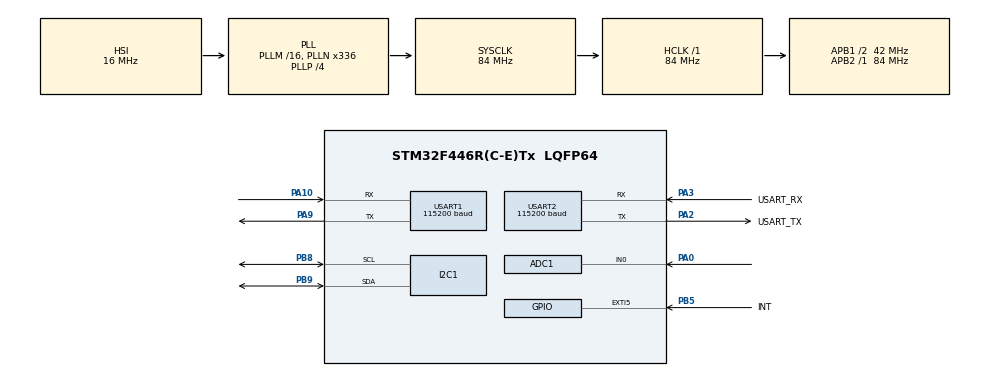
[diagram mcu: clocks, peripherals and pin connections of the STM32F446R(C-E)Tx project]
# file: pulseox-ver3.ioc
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ADC1.Channel-0\#ChannelRegularConversion=ADC_CHANNEL_0
ADC1.NbrOfConversionFlag=1
ADC1.Rank-0\#ChannelRegularConversion=1
ADC1.SamplingTime-0\#ChannelRegularConversion=ADC_SAMPLETIME_3CYCLES
ADC1.master=1
Dma.Request0=USART2_RX
Dma.Request1=USART2_TX
Dma.Request2=USART1_RX
Dma.Request3=USART1_TX
Dma.USART1_RX.2.Direction=DMA_PERIPH_TO_MEMORY
Dma.USART1_RX.2.FIFOMode=DMA_FIFOMODE_DISABLE
Dma.USART1_RX.2.Instance=DMA2_Stream2
Dma.USART1_RX.2.MemDataAlignment=DMA_MDATAALIGN_BYTE
Dma.USART1_RX.2.MemInc=DMA_MINC_ENABLE
Dma.USART1_RX.2.Mode=DMA_NORMAL
Dma.USART1_RX.2.PeriphDataAlignment=DMA_PDATAALIGN_BYTE
Dma.USART1_RX.2.PeriphInc=DMA_PINC_DISABLE
Dma.USART1_RX.2.Priority=DMA_PRIORITY_LOW
Dma.USART1_TX.3.Direction=DMA_MEMORY_TO_PERIPH
Dma.USART1_TX.3.FIFOMode=DMA_FIFOMODE_DISABLE
Dma.USART1_TX.3.Instance=DMA2_Stream7
Dma.USART1_TX.3.MemDataAlignment=DMA_MDATAALIGN_BYTE
Dma.USART1_TX.3.MemInc=DMA_MINC_ENABLE
Dma.USART1_TX.3.Mode=DMA_NORMAL
Dma.USART1_TX.3.PeriphDataAlignment=DMA_PDATAALIGN_BYTE
Dma.USART1_TX.3.PeriphInc=DMA_PINC_DISABLE
Dma.USART1_TX.3.Priority=DMA_PRIORITY_LOW
Dma.USART2_RX.0.Direction=DMA_PERIPH_TO_MEMORY
Dma.USART2_RX.0.FIFOMode=DMA_FIFOMODE_DISABLE
Dma.USART2_RX.0.Instance=DMA1_Stream5
Dma.USART2_RX.0.MemDataAlignment=DMA_MDATAALIGN_BYTE
Dma.USART2_RX.0.MemInc=DMA_MINC_ENABLE
Dma.USART2_RX.0.Mode=DMA_NORMAL
Dma.USART2_RX.0.PeriphDataAlignment=DMA_PDATAALIGN_BYTE
Dma.USART2_RX.0.PeriphInc=DMA_PINC_DISABLE
Dma.USART2_RX.0.Priority=DMA_PRIORITY_LOW
Dma.USART2_TX.1.Direction=DMA_MEMORY_TO_PERIPH
Dma.USART2_TX.1.FIFOMode=DMA_FIFOMODE_DISABLE
Dma.USART2_TX.1.Instance=DMA1_Stream6
Dma.USART2_TX.1.MemDataAlignment=DMA_MDATAALIGN_BYTE
Dma.USART2_TX.1.MemInc=DMA_MINC_ENABLE
Dma.USART2_TX.1.Mode=DMA_NORMAL
Dma.USART2_TX.1.PeriphDataAlignment=DMA_PDATAALIGN_BYTE
Dma.USART2_TX.1.PeriphInc=DMA_PINC_DISABLE
Dma.USART2_TX.1.Priority=DMA_PRIORITY_LOW
Mcu.Family=STM32F4
Mcu.Name=STM32F446R(C-E)Tx
Mcu.Package=LQFP64
NVIC.DMA1_Stream5_IRQn=true\:0\:0\:false\:false\:true\:false\:true\:true
NVIC.DMA1_Stream6_IRQn=true\:0\:0\:false\:false\:true\:false\:true\:true
NVIC.DMA2_Stream2_IRQn=true\:0\:0\:false\:false\:true\:false\:true\:true
NVIC.DMA2_Stream7_IRQn=true\:0\:0\:false\:false\:true\:false\:true\:true
NVIC.EXTI9_5_IRQn=true\:0\:0\:false\:false\:true\:true\:true\:true
NVIC.PriorityGroup=NVIC_PRIORITYGROUP_0
NVIC.USART1_IRQn=true\:0\:0\:false\:false\:true\:true\:true\:true
PA0-WKUP.Signal=ADCx_IN0
PA10.Mode=Asynchronous
PA10.Signal=USART1_RX
PA13.GPIO_Label=TEST
PA13.Mode=Serial_Wire
PA13.Signal=SYS_JTMS-SWDIO
PA14.GPIO_Label=TCK
PA14.Mode=Serial_Wire
PA14.Signal=SYS_JTCK-SWCLK
PA2.GPIO_Label=USART_TX
PA2.Mode=Asynchronous
PA2.Signal=USART2_TX
PA3.GPIO_Label=USART_RX
PA3.Mode=Asynchronous
PA3.Signal=USART2_RX
PA9.Mode=Asynchronous
PA9.Signal=USART1_TX
PB3.GPIO_Label=SWO
PB3.Signal=SYS_JTDO-SWO
PB5.GPIO_Label=INT
PB5.GPIO_ModeDefaultEXTI=GPIO_MODE_IT_FALLING
PB5.GPIO_PuPd=GPIO_PULLUP
PB5.Signal=GPXTI5
PB8.Mode=I2C
PB8.Signal=I2C1_SCL
PB9.Mode=I2C
PB9.Signal=I2C1_SDA
PC14-OSC32_IN.Mode=LSE-External-Oscillator
PC14-OSC32_IN.Signal=RCC_OSC32_IN
PC15-OSC32_OUT.Mode=LSE-External-Oscillator
PC15-OSC32_OUT.Signal=RCC_OSC32_OUT
PH0-OSC_IN.Mode=HSE-External-Oscillator
PH0-OSC_IN.Signal=RCC_OSC_IN
PH1-OSC_OUT.Mode=HSE-External-Oscillator
PH1-OSC_OUT.Signal=RCC_OSC_OUT
ProjectManager.HeapSize=0x200
ProjectManager.StackSize=0x400
ProjectManager.TargetToolchain=STM32CubeIDE
RCC.48MHZClocksFreq_Value=84000000
RCC.AHBFreq_Value=84000000
RCC.APB1CLKDivider=RCC_HCLK_DIV2
RCC.APB1Freq_Value=42000000
RCC.APB1TimFreq_Value=84000000
RCC.APB2Freq_Value=84000000
RCC.APB2TimFreq_Value=84000000
RCC.CortexFreq_Value=84000000
RCC.FLatency-AdvancedSettings=FLASH_LATENCY_2
RCC.HCLKFreq_Value=84000000
RCC.HSE_VALUE=8000000
RCC.HSI_VALUE=16000000
RCC.PLLN=336
RCC.PLLP=RCC_PLLP_DIV4
RCC.SYSCLKFreq_VALUE=84000000
RCC.SYSCLKSource=RCC_SYSCLKSOURCE_PLLCLK
RCC.USBFreq_Value=168000000
RCC.VCOOutputFreq_Value=336000000
SH.ADCx_IN0.0=ADC1_IN0,IN0
USART1.BaudRate=115200
USART1.VirtualMode=VM_ASYNC
USART2.BaudRate=115200
USART2.VirtualMode=VM_ASYNC
board=NUCLEO-F446RE

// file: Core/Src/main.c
/* USER CODE BEGIN Header */
/**
 ******************************************************************************
 * @file           : main.c
 * @brief          : Main program body
 ******************************************************************************
 ** This notice applies to any and all portions of this file
 * that are not between comment pairs USER CODE BEGIN and
 * USER CODE END. Other portions of this file, whether
 * inserted by the user or by software development tools
 * are owned by their respective copyright owners.
 *
 * COPYRIGHT(c) 2019 STMicroelectronics
 *
 * Redistribution and use in source and binary forms, with or without modification,
 * are permitted provided that the following conditions are met:
 *   1. Redistributions of source code must retain the above copyright notice,
 *      this list of conditions and the following disclaimer.
 *   2. Redistributions in binary form must reproduce the above copyright notice,
 *      this list of conditions and the following disclaimer in the documentation
 *      and/or other materials provided with the distribution.
 *   3. Neither the name of STMicroelectronics nor the names of its contributors
 *      may be used to endorse or promote products derived from this software
 *      without specific prior written permission.
 *
 * THIS SOFTWARE IS PROVIDED BY THE COPYRIGHT HOLDERS AND CONTRIBUTORS "AS IS"
 * AND ANY EXPRESS OR IMPLIED WARRANTIES, INCLUDING, BUT NOT LIMITED TO, THE
 * IMPLIED WARRANTIES OF MERCHANTABILITY AND FITNESS FOR A PARTICULAR PURPOSE ARE
 * DISCLAIMED. IN NO EVENT SHALL THE COPYRIGHT HOLDER OR CONTRIBUTORS BE LIABLE
 * FOR ANY DIRECT, INDIRECT, INCIDENTAL, SPECIAL, EXEMPLARY, OR CONSEQUENTIAL
 * DAMAGES (INCLUDING, BUT NOT LIMITED TO, PROCUREMENT OF SUBSTITUTE GOODS OR
 * SERVICES; LOSS OF USE, DATA, OR PROFITS; OR BUSINESS INTERRUPTION) HOWEVER
 * CAUSED AND ON ANY THEORY OF LIABILITY, WHETHER IN CONTRACT, STRICT LIABILITY,
 * OR TORT (INCLUDING NEGLIGENCE OR OTHERWISE) ARISING IN ANY WAY OUT OF THE USE
 * OF THIS SOFTWARE, EVEN IF ADVISED OF THE POSSIBILITY OF SUCH DAMAGE.
 *
 ******************************************************************************
 *	Created on: 13.01.2019
 *  	License: MIT
 *		Author: Mateusz Salamon
 *		www.msalamon.pl
 *		mateusz@msalamon.pl
 *
 *	Website: https://msalamon.pl/palec-mi-pulsuje-pulsometr-max30102-pod-kontrola-stm32/
 *	GitHub:  https://github.com/lamik/MAX30102_STM32_HAL
 *
 */
/* USER CODE END Header */
#include "main.h"

/* USER CODE BEGIN Includes */
#include "stdio.h"
#include "string.h"
#include "MAX30102/MAX30102.h"
/* USER CODE END Includes */

ADC_HandleTypeDef hadc1;

I2C_HandleTypeDef hi2c1;

UART_HandleTypeDef huart1;
UART_HandleTypeDef huart2;
DMA_HandleTypeDef hdma_usart1_rx;
DMA_HandleTypeDef hdma_usart1_tx;
DMA_HandleTypeDef hdma_usart2_rx;
DMA_HandleTypeDef hdma_usart2_tx;

/* USER CODE BEGIN PV */
//char UartBuffer[32];
static uint8_t rx_buf[20];

//
//uint16_t analogValue;
//char msg[20];

/* USER CODE END PV */

void SystemClock_Config(void);
static void MX_GPIO_Init(void);
static void MX_DMA_Init(void);
static void MX_USART2_UART_Init(void);
static void MX_I2C1_Init(void);
static void MX_ADC1_Init(void);
static void MX_USART1_UART_Init(void);

/* USER CODE BEGIN 0 */

void initSecondaryBLESetup() {

	HAL_UART_Receive_DMA(&huart1, rx_buf, 16);
	HAL_UART_Transmit_DMA(&huart1, (uint8_t*) "AT", strlen("AT"));
	memset(rx_buf, 0, sizeof(rx_buf));

	HAL_UART_Receive_DMA(&huart1, rx_buf, 16);
	HAL_UART_Transmit_DMA(&huart1, (uint8_t*) "AT+RESET", strlen("AT+RESET"));
	memset(rx_buf, 0, sizeof(rx_buf));

	HAL_UART_Receive_DMA(&huart1, rx_buf, 16);
	HAL_UART_Transmit_DMA(&huart1, (uint8_t*) "AT+BAUD4", strlen("AT+BAUD4"));
	memset(rx_buf, 0, sizeof(rx_buf));

	HAL_UART_Receive_DMA(&huart1, rx_buf, 16);
	HAL_UART_Transmit_DMA(&huart1, (uint8_t*) "AT+BAUD?", strlen("AT+BAUD?"));
	memset(rx_buf, 0, sizeof(rx_buf));

	HAL_UART_Receive_DMA(&huart1, rx_buf, 16);
	HAL_UART_Transmit_DMA(&huart1, (uint8_t*) "AT+NOTI1", strlen("AT+NOTI1"));
	memset(rx_buf, 0, sizeof(rx_buf));

	HAL_UART_Receive_DMA(&huart1, rx_buf, 16);
	HAL_UART_Transmit_DMA(&huart1, (uint8_t*) "AT+ANCS1", strlen("AT+ANCS1"));
	memset(rx_buf, 0, sizeof(rx_buf));

	HAL_UART_Receive_DMA(&huart1, rx_buf, 16);
	HAL_UART_Transmit_DMA(&huart1, (uint8_t*) "AT+SHOW1", strlen("AT+SHOW1"));
	memset(rx_buf, 0, sizeof(rx_buf));

	HAL_UART_Receive_DMA(&huart1, rx_buf, 16);
	HAL_UART_Transmit_DMA(&huart1, (uint8_t*) "AT+MODE1", strlen("AT+MODE1"));
	memset(rx_buf, 0, sizeof(rx_buf));

	HAL_UART_Receive_DMA(&huart1, rx_buf, 16);
	HAL_UART_Transmit_DMA(&huart1, (uint8_t*) "AT+NAMEXELHM",
			strlen("AT+NAMEXELHM"));
	memset(rx_buf, 0, sizeof(rx_buf));

	HAL_UART_Receive_DMA(&huart1, rx_buf, 16);
	HAL_UART_Transmit_DMA(&huart1, (uint8_t*) "AT+RESET", strlen("AT+RESET"));
	memset(rx_buf, 0, sizeof(rx_buf));

	HAL_UART_Receive_DMA(&huart1, rx_buf, 16);
	HAL_UART_Transmit_DMA(&huart1, (uint8_t*) "AT+BAUD?", strlen("AT+BAUD?"));
	memset(rx_buf, 0, sizeof(rx_buf));

}

/* USER CODE END 0 */

int main(void)
{

  /* MCU Configuration--------------------------------------------------------*/

  /* Reset of all peripherals, Initializes the Flash interface and the Systick. */
  HAL_Init();

  /* Configure the system clock */
  SystemClock_Config();

  /* Initialize all configured peripherals */
  MX_GPIO_Init();
  MX_DMA_Init();
  MX_USART2_UART_Init();
  MX_I2C1_Init();
  MX_ADC1_Init();
  MX_USART1_UART_Init();
  /* USER CODE BEGIN 2 */
//	initSecondaryBLESetup();
	Max30102_Init(&hi2c1);

  /* USER CODE END 2 */

  /* Infinite loop */
  /* USER CODE BEGIN WHILE */
	while (1) {

		uint16_t analogVal;
		uint8_t hrVal;
		uint8_t spo2Val;
		char txData[128];

		//MAX30102 Process Code
		Max30102_Task();
		hrVal = Max30102_GetHeartRate();
		spo2Val = Max30102_GetSpO2Value();

		//AD8232 (EKG) Process Code
		HAL_ADC_Start(&hadc1);
		HAL_ADC_PollForConversion(&hadc1, 20);
		analogVal = HAL_ADC_GetValue(&hadc1);

		sprintf(txData, "%d,%d,%d", hrVal, spo2Val, analogVal);

		HAL_UART_Transmit_DMA(&huart1, (uint8_t*)txData, strlen(txData));
		HAL_Delay(20);

    /* USER CODE END WHILE */

	}
}

void SystemClock_Config(void)
{
  RCC_OscInitTypeDef RCC_OscInitStruct = {0};
  RCC_ClkInitTypeDef RCC_ClkInitStruct = {0};

  /** Configure the main internal regulator output voltage
  */
  __HAL_RCC_PWR_CLK_ENABLE();
  __HAL_PWR_VOLTAGESCALING_CONFIG(PWR_REGULATOR_VOLTAGE_SCALE3);

  /** Initializes the RCC Oscillators according to the specified parameters
  * in the RCC_OscInitTypeDef structure.
  */
  RCC_OscInitStruct.OscillatorType = RCC_OSCILLATORTYPE_HSI;
  RCC_OscInitStruct.HSIState = RCC_HSI_ON;
  RCC_OscInitStruct.HSICalibrationValue = RCC_HSICALIBRATION_DEFAULT;
  RCC_OscInitStruct.PLL.PLLState = RCC_PLL_ON;
  RCC_OscInitStruct.PLL.PLLSource = RCC_PLLSOURCE_HSI;
  RCC_OscInitStruct.PLL.PLLM = 16;
  RCC_OscInitStruct.PLL.PLLN = 336;
  RCC_OscInitStruct.PLL.PLLP = RCC_PLLP_DIV4;
  RCC_OscInitStruct.PLL.PLLQ = 2;
  RCC_OscInitStruct.PLL.PLLR = 2;
  if (HAL_RCC_OscConfig(&RCC_OscInitStruct) != HAL_OK)
  {
    Error_Handler();
  }

  /** Initializes the CPU, AHB and APB buses clocks
  */
  RCC_ClkInitStruct.ClockType = RCC_CLOCKTYPE_HCLK|RCC_CLOCKTYPE_SYSCLK
                              |RCC_CLOCKTYPE_PCLK1|RCC_CLOCKTYPE_PCLK2;
  RCC_ClkInitStruct.SYSCLKSource = RCC_SYSCLKSOURCE_PLLCLK;
  RCC_ClkInitStruct.AHBCLKDivider = RCC_SYSCLK_DIV1;
  RCC_ClkInitStruct.APB1CLKDivider = RCC_HCLK_DIV2;
  RCC_ClkInitStruct.APB2CLKDivider = RCC_HCLK_DIV1;

  if (HAL_RCC_ClockConfig(&RCC_ClkInitStruct, FLASH_LATENCY_2) != HAL_OK)
  {
    Error_Handler();
  }
}

static void MX_ADC1_Init(void)
{

  ADC_ChannelConfTypeDef sConfig = {0};

  /** Configure the global features of the ADC (Clock, Resolution, Data Alignment and number of conversion)
  */
  hadc1.Instance = ADC1;
  hadc1.Init.ClockPrescaler = ADC_CLOCK_SYNC_PCLK_DIV4;
  hadc1.Init.Resolution = ADC_RESOLUTION_12B;
  hadc1.Init.ScanConvMode = DISABLE;
  hadc1.Init.ContinuousConvMode = DISABLE;
  hadc1.Init.DiscontinuousConvMode = DISABLE;
  hadc1.Init.ExternalTrigConvEdge = ADC_EXTERNALTRIGCONVEDGE_NONE;
  hadc1.Init.ExternalTrigConv = ADC_SOFTWARE_START;
  hadc1.Init.DataAlign = ADC_DATAALIGN_RIGHT;
  hadc1.Init.NbrOfConversion = 1;
  hadc1.Init.DMAContinuousRequests = DISABLE;
  hadc1.Init.EOCSelection = ADC_EOC_SINGLE_CONV;
  if (HAL_ADC_Init(&hadc1) != HAL_OK)
  {
    Error_Handler();
  }

  /** Configure for the selected ADC regular channel its corresponding rank in the sequencer and its sample time.
  */
  sConfig.Channel = ADC_CHANNEL_0;
  sConfig.Rank = 1;
  sConfig.SamplingTime = ADC_SAMPLETIME_3CYCLES;
  if (HAL_ADC_ConfigChannel(&hadc1, &sConfig) != HAL_OK)
  {
    Error_Handler();
  }

}

static void MX_I2C1_Init(void)
{

  hi2c1.Instance = I2C1;
  hi2c1.Init.ClockSpeed = 100000;
  hi2c1.Init.DutyCycle = I2C_DUTYCYCLE_2;
  hi2c1.Init.OwnAddress1 = 0;
  hi2c1.Init.AddressingMode = I2C_ADDRESSINGMODE_7BIT;
  hi2c1.Init.DualAddressMode = I2C_DUALADDRESS_DISABLE;
  hi2c1.Init.OwnAddress2 = 0;
  hi2c1.Init.GeneralCallMode = I2C_GENERALCALL_DISABLE;
  hi2c1.Init.NoStretchMode = I2C_NOSTRETCH_DISABLE;
  if (HAL_I2C_Init(&hi2c1) != HAL_OK)
  {
    Error_Handler();
  }

}

static void MX_USART1_UART_Init(void)
{

  huart1.Instance = USART1;
  huart1.Init.BaudRate = 115200;
  huart1.Init.WordLength = UART_WORDLENGTH_8B;
  huart1.Init.StopBits = UART_STOPBITS_1;
  huart1.Init.Parity = UART_PARITY_NONE;
  huart1.Init.Mode = UART_MODE_TX_RX;
  huart1.Init.HwFlowCtl = UART_HWCONTROL_NONE;
  huart1.Init.OverSampling = UART_OVERSAMPLING_16;
  if (HAL_UART_Init(&huart1) != HAL_OK)
  {
    Error_Handler();
  }

}

static void MX_USART2_UART_Init(void)
{

  huart2.Instance = USART2;
  huart2.Init.BaudRate = 115200;
  huart2.Init.WordLength = UART_WORDLENGTH_8B;
  huart2.Init.StopBits = UART_STOPBITS_1;
  huart2.Init.Parity = UART_PARITY_NONE;
  huart2.Init.Mode = UART_MODE_TX_RX;
  huart2.Init.HwFlowCtl = UART_HWCONTROL_NONE;
  huart2.Init.OverSampling = UART_OVERSAMPLING_16;
  if (HAL_UART_Init(&huart2) != HAL_OK)
  {
    Error_Handler();
  }

}

static void MX_DMA_Init(void)
{

  /* DMA controller clock enable */
  __HAL_RCC_DMA1_CLK_ENABLE();
  __HAL_RCC_DMA2_CLK_ENABLE();

  /* DMA interrupt init */
  /* DMA1_Stream5_IRQn interrupt configuration */
  HAL_NVIC_SetPriority(DMA1_Stream5_IRQn, 0, 0);
  HAL_NVIC_EnableIRQ(DMA1_Stream5_IRQn);
  /* DMA1_Stream6_IRQn interrupt configuration */
  HAL_NVIC_SetPriority(DMA1_Stream6_IRQn, 0, 0);
  HAL_NVIC_EnableIRQ(DMA1_Stream6_IRQn);
  /* DMA2_Stream2_IRQn interrupt configuration */
  HAL_NVIC_SetPriority(DMA2_Stream2_IRQn, 0, 0);
  HAL_NVIC_EnableIRQ(DMA2_Stream2_IRQn);
  /* DMA2_Stream7_IRQn interrupt configuration */
  HAL_NVIC_SetPriority(DMA2_Stream7_IRQn, 0, 0);
  HAL_NVIC_EnableIRQ(DMA2_Stream7_IRQn);

}

static void MX_GPIO_Init(void)
{
  GPIO_InitTypeDef GPIO_InitStruct = {0};

  /* GPIO Ports Clock Enable */
  __HAL_RCC_GPIOC_CLK_ENABLE();
  __HAL_RCC_GPIOH_CLK_ENABLE();
  __HAL_RCC_GPIOA_CLK_ENABLE();
  __HAL_RCC_GPIOB_CLK_ENABLE();

  /*Configure GPIO pin : INT_Pin */
  GPIO_InitStruct.Pin = INT_Pin;
  GPIO_InitStruct.Mode = GPIO_MODE_IT_FALLING;
  GPIO_InitStruct.Pull = GPIO_PULLUP;
  HAL_GPIO_Init(INT_GPIO_Port, &GPIO_InitStruct);

  /* EXTI interrupt init*/
  HAL_NVIC_SetPriority(EXTI9_5_IRQn, 0, 0);
  HAL_NVIC_EnableIRQ(EXTI9_5_IRQn);

}

/* USER CODE BEGIN 4 */

void HAL_GPIO_EXTI_Callback(uint16_t GPIO_Pin) {
	if (GPIO_Pin == INT_Pin) {
		Max30102_InterruptCallback();
	}
}

/* USER CODE END 4 */

void Error_Handler(void)
{
}
